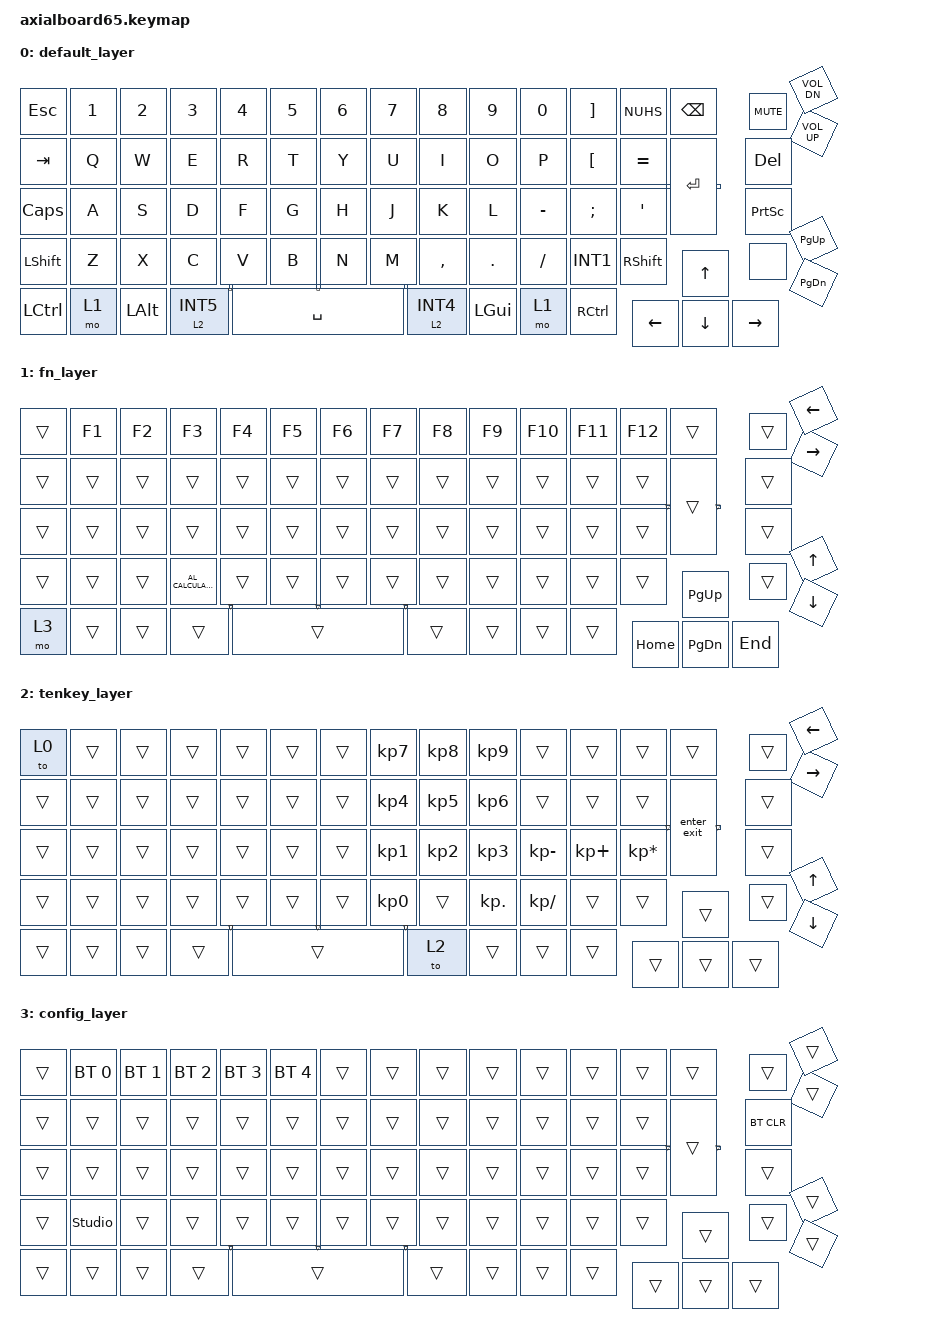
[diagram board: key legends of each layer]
#include <behaviors.dtsi>
#include <dt-bindings/zmk/keys.h>
#include <dt-bindings/zmk/pointing.h>
#include <dt-bindings/zmk/bt.h>

#define JP_ZKHK  GRAVE        // (半角 ↔ 全角 ↔ 漢字)
#define JP_MINUS MINUS        // -
#define JP_CARET EQUAL        // ^
#define JP_YEN   INT3         // ¥
#define JP_AT    LBKT         // @
#define JP_LBKT  RBKT         // [
#define JP_EISU  CAPS         // Eisū (英数)
#define JP_SEMI  SEMI         // ;
#define JP_COLON SQT          // :
#define JP_RBKT  NUHS         // ]
#define JP_COMMA COMMA        // ,
#define JP_DOT   DOT          // .
#define JP_SLASH SLASH        // /
#define JP_BSLH  INT1         // (backslash)
#define JP_MHEN  INT5         // Muhenkan (無変換)
#define JP_HENK  INT4         // Henkan (変換)
#define JP_KANA  INT2         // (カタカナ ↔ ひらがな ↔ ローマ字)
#define JP_EXCL  LS(N1)       // !
#define JP_DQT   LS(N2)       // "
#define JP_HASH  LS(N3)       // #
#define JP_DLLR  LS(N4)       // $
#define JP_PRCNT LS(N5)       // %
#define JP_AMPS  LS(N6)       // &
#define JP_SQT   LS(N7)       // '
#define JP_LPAR  LS(N8)       // (
#define JP_RPAR  LS(N9)       // )
#define JP_EQUAL LS(JP_MINUS) // =
#define JP_TILDE LS(JP_CARET) // ~
#define JP_PIPE  LS(JP_YEN)   // |
#define JP_GRAVE LS(JP_AT)    // `
#define JP_LBRC  LS(JP_LBKT)  // {
#define JP_CAPS  LS(JP_EISU)  // Caps Lock
#define JP_PLUS  LS(JP_SEMI)  // +
#define JP_ASTRK LS(JP_COLON) // *
#define JP_RBRC  LS(JP_RBKT)  // }
#define JP_LT    LS(JP_COMMA) // <
#define JP_RT    LS(JP_DOT)   // >
#define JP_QMARK LS(JP_SLASH) // ?
#define JP_UNDER LS(JP_BSLH)  // _
#define CALC  C_AL_CALCULATOR //電卓キー

/ {
    macros {
        enter_exit: enter_exit {
            compatible = "zmk,behavior-macro";
            #binding-cells = <0>;
            bindings = <&kp ENTER &to 0>;
        };
    };

    keymap {
        compatible = "zmk,keymap";

        default_layer {
            bindings = <
                &kp ESC     &kp N1    &kp N2    &kp N3        &kp N4    &kp N5    &kp N6    &kp N7  &kp N8        &kp N9    &kp N0       &kp JP_LBKT  &kp JP_RBKT  &kp BSPC   &kp C_VOL_UP &kp C_VOL_DN
                &kp TAB     &kp Q     &kp W     &kp E         &kp R     &kp T     &kp Y     &kp U   &kp I         &kp O     &kp P        &kp JP_AT    &kp JP_CARET &kp ENTER  &kp C_MUTE   &kp DEL
                &kp JP_EISU &kp A     &kp S     &kp D         &kp F     &kp G     &kp H     &kp J   &kp K         &kp L     &kp JP_MINUS &kp JP_SEMI  &kp JP_COLON &none      &kp PSCRN    &none
                &kp LSHIFT  &kp Z     &kp X     &kp C         &kp V     &kp B     &kp N     &kp M   &kp COMMA     &kp DOT   &kp SLASH    &kp JP_BSLH  &kp RSHIFT   &kp UP     &kp PG_UP    &kp PG_DN
                &kp LCTRL   &mo 1     &kp LALT  &lt 2 JP_MHEN &kp SPACE &kp SPACE &kp SPACE &none   &lt 2 JP_HENK &kp LGUI  &mo 1        &kp RCTRL    &kp LEFT     &kp DOWN   &none        &kp RIGHT
            >;
        };

        fn_layer {
            bindings = <
                &trans  &kp F1  &kp F2  &kp F3   &kp F4  &kp F5  &kp F6  &kp F7  &kp F8  &kp F9  &kp F10 &kp F11 &kp F12  &trans    &kp RIGHT &kp LEFT
                &trans  &trans  &trans  &trans   &trans  &trans  &trans  &trans  &trans  &trans  &trans  &trans  &trans   &trans    &trans    &trans
                &trans  &trans  &trans  &trans   &trans  &trans  &trans  &trans  &trans  &trans  &trans  &trans  &trans   &trans    &trans    &trans
                &trans  &trans  &trans  &kp CALC &trans  &trans  &trans  &trans  &trans  &trans  &trans  &trans  &trans   &kp PG_UP &kp UP    &kp DOWN
                &mo 3   &trans  &trans  &trans   &trans  &trans  &trans  &trans  &trans  &trans  &trans  &trans  &kp HOME &kp PG_DN &trans    &kp END
            >;
        };

        tenkey_layer {
            bindings = <
                &to 0   &trans  &trans  &trans  &trans  &trans  &trans  &kp KP_N7  &kp KP_N8  &kp KP_N9  &trans        &trans      &trans          &trans      &kp RIGHT &kp LEFT
                &trans  &trans  &trans  &trans  &trans  &trans  &trans  &kp KP_N4  &kp KP_N5  &kp KP_N6  &trans        &trans      &trans          &enter_exit &trans    &trans
                &trans  &trans  &trans  &trans  &trans  &trans  &trans  &kp KP_N1  &kp KP_N2  &kp KP_N3  &kp KP_MINUS  &kp KP_PLUS &kp KP_MULTIPLY &trans      &trans    &trans
                &trans  &trans  &trans  &trans  &trans  &trans  &trans  &kp KP_N0  &trans     &kp KP_DOT &kp KP_DIVIDE &trans      &trans          &trans      &kp UP    &kp DOWN
                &trans  &trans  &trans  &trans  &trans  &trans  &trans  &trans     &to 2      &trans     &trans        &trans      &trans          &trans      &trans    &trans
            >;
        };

        config_layer {
            bindings = <
                &trans  &bt BT_SEL 0  &bt BT_SEL 1  &bt BT_SEL 2  &bt BT_SEL 3  &bt BT_SEL 4  &trans  &trans  &trans  &trans  &trans  &trans  &trans  &trans  &trans  &trans
                &trans  &trans        &trans        &trans        &trans        &trans        &trans  &trans  &trans  &trans  &trans  &trans  &trans  &trans  &trans  &bt BT_CLR
                &trans  &trans        &trans        &trans        &trans        &trans        &trans  &trans  &trans  &trans  &trans  &trans  &trans  &trans  &trans  &trans
                &trans  &studio_unlock  &trans      &trans        &trans        &trans        &trans  &trans  &trans  &trans  &trans  &trans  &trans  &trans  &trans  &trans
                &trans  &trans        &trans        &trans        &trans        &trans        &trans  &trans  &trans  &trans  &trans  &trans  &trans  &trans  &trans  &trans
            >;
        };

        reserved1_layer {
            status = "reserved";
            bindings = <
                &trans  &trans  &trans  &trans  &trans  &trans  &trans  &trans  &trans  &trans  &trans  &trans  &trans  &trans  &trans  &trans
                &trans  &trans  &trans  &trans  &trans  &trans  &trans  &trans  &trans  &trans  &trans  &trans  &trans  &trans  &trans  &trans
                &trans  &trans  &trans  &trans  &trans  &trans  &trans  &trans  &trans  &trans  &trans  &trans  &trans  &trans  &trans  &trans
                &trans  &trans  &trans  &trans  &trans  &trans  &trans  &trans  &trans  &trans  &trans  &trans  &trans  &trans  &trans  &trans
                &trans  &trans  &trans  &trans  &trans  &trans  &trans  &trans  &trans  &trans  &trans  &trans  &trans  &trans  &trans  &trans
            >;
        };

        reserved2_layer {
            status = "reserved";
            bindings = <
                &trans  &trans  &trans  &trans  &trans  &trans  &trans  &trans  &trans  &trans  &trans  &trans  &trans  &trans  &trans  &trans
                &trans  &trans  &trans  &trans  &trans  &trans  &trans  &trans  &trans  &trans  &trans  &trans  &trans  &trans  &trans  &trans
                &trans  &trans  &trans  &trans  &trans  &trans  &trans  &trans  &trans  &trans  &trans  &trans  &trans  &trans  &trans  &trans
                &trans  &trans  &trans  &trans  &trans  &trans  &trans  &trans  &trans  &trans  &trans  &trans  &trans  &trans  &trans  &trans
                &trans  &trans  &trans  &trans  &trans  &trans  &trans  &trans  &trans  &trans  &trans  &trans  &trans  &trans  &trans  &trans
            >;
        };

        reserved3_layer {
            status = "reserved";
            bindings = <
                &trans  &trans  &trans  &trans  &trans  &trans  &trans  &trans  &trans  &trans  &trans  &trans  &trans  &trans  &trans  &trans
                &trans  &trans  &trans  &trans  &trans  &trans  &trans  &trans  &trans  &trans  &trans  &trans  &trans  &trans  &trans  &trans
                &trans  &trans  &trans  &trans  &trans  &trans  &trans  &trans  &trans  &trans  &trans  &trans  &trans  &trans  &trans  &trans
                &trans  &trans  &trans  &trans  &trans  &trans  &trans  &trans  &trans  &trans  &trans  &trans  &trans  &trans  &trans  &trans
                &trans  &trans  &trans  &trans  &trans  &trans  &trans  &trans  &trans  &trans  &trans  &trans  &trans  &trans  &trans  &trans
            >;
        };
    };
};
